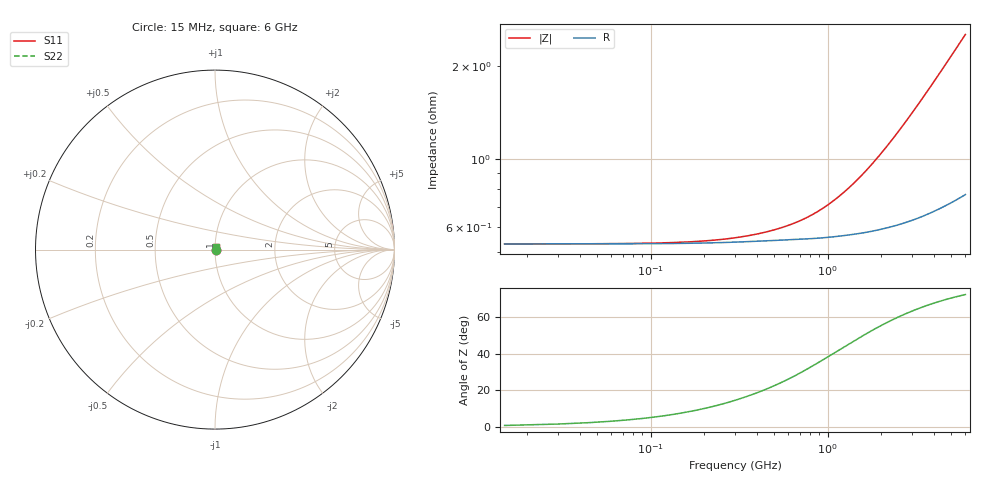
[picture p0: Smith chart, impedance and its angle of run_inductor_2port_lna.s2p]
#  Hz  S  RI  R  50
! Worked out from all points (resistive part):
!   400 points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, 15 MHz to 6 GHz, reference 50 ohm
!   read as 1/Y11, port 2 shorted: R = 530 mohm at 45 MHz
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1.5e7  0.00522 -5.68e-05  0.9947 -0.000198  0.9947 -0.000198  0.00522 -5.64e-05
1.2e8  0.00508 -0.000426  0.9945 -0.00155  0.9945 -0.00155  0.00508 -0.000423
2.4e8  0.00469 -0.000703  0.994 -0.00292  0.994 -0.00292  0.00469 -0.000696
3.45e8  0.00425 -0.000757  0.9935 -0.0039  0.9935 -0.00389  0.00425 -0.000748
6e8  0.00329 -0.000263  0.9924 -0.00556  0.9924 -0.00555  0.0033 -0.000249
7.2e8  0.003 0.000123  0.9921 -0.00618  0.9921 -0.00617  0.003 0.000141
7.95e8  0.00287 0.000375  0.9919 -0.00656  0.9919 -0.00654  0.00287 0.000394
8.7e8  0.00276 0.000624  0.9917 -0.00695  0.9917 -0.00693  0.00276 0.000645
9.45e8  0.00267 0.00087  0.9916 -0.00733  0.9916 -0.00731  0.00267 0.000892
1.02e9  0.0026 0.00111  0.9915 -0.00772  0.9915 -0.0077  0.0026 0.00114
1.14e9  0.0025 0.00149  0.9913 -0.00835  0.9913 -0.00832  0.00251 0.00152
1.275e9  0.00243 0.00192  0.9911 -0.00904  0.9911 -0.00901  0.00243 0.00195
1.755e9  0.00235 0.00335  0.9907 -0.0116  0.9907 -0.0115  0.00235 0.00339
2.01e9  0.00237 0.00405  0.9905 -0.0129  0.9905 -0.0129  0.00237 0.0041
2.25e9  0.00241 0.0047  0.9903 -0.0142  0.9903 -0.0142  0.00241 0.00475
2.49e9  0.00247 0.00532  0.9901 -0.0155  0.9901 -0.0155  0.00247 0.00538
3.015e9  0.00264 0.00662  0.9898 -0.0183  0.9898 -0.0183  0.00264 0.00669
3.465e9  0.00282 0.0077  0.9895 -0.0208  0.9895 -0.0207  0.00283 0.00778
4.005e9  0.00306 0.00894  0.9891 -0.0237  0.9891 -0.0236  0.00307 0.00903
4.47e9  0.00328 0.00996  0.9888 -0.0262  0.9888 -0.0261  0.00329 0.0101
5.01e9  0.00355 0.0111  0.9884 -0.029  0.9884 -0.0289  0.00356 0.0112
6e9  0.00407 0.0132  0.9877 -0.0342  0.9878 -0.0341  0.00409 0.0133
